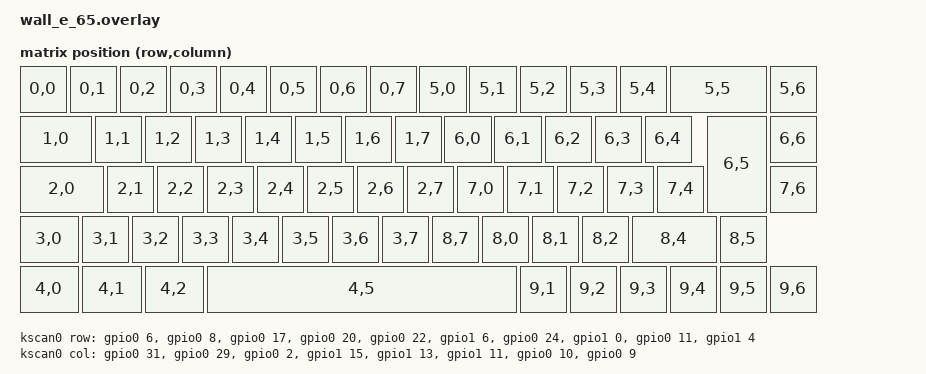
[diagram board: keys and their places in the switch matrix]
#include <dt-bindings/zmk/matrix_transform.h>
#include <physical_layouts.dtsi>

/ {
    chosen {
        zmk,kscan = &kscan0;
        zmk,physical-layout = &physical_layout0;
        zmk,backlight = &backlight;
    };

    /* Definizione del LED sul Pad posteriore P1.01 */
    backlight: gpio_leds {
        compatible = "gpio-leds";
        caps_lock_led: caps_lock_led {
            gpios = <&gpio1 1 GPIO_ACTIVE_HIGH>;
            label = "Caps Lock LED";
        };
    };

    /* Matrice Elettrica Hardware (Pin nativi nRF52840) */
    kscan0: kscan_0 {
        compatible = "zmk,kscan-gpio-matrix";
        label = "KSCAN";
        diode-direction = "col2row";
        wakeup-source;

        /* Le 10 Righe nell'ordine esatto del test Python */
        row-gpios
            = <&gpio0  6 (GPIO_ACTIVE_HIGH | GPIO_PULL_DOWN)> /* Row 0: P0.06 */
            , <&gpio0  8 (GPIO_ACTIVE_HIGH | GPIO_PULL_DOWN)> /* Row 1: P0.08 */
            , <&gpio0 17 (GPIO_ACTIVE_HIGH | GPIO_PULL_DOWN)> /* Row 2: P0.17 */
            , <&gpio0 20 (GPIO_ACTIVE_HIGH | GPIO_PULL_DOWN)> /* Row 3: P0.20 */
            , <&gpio0 22 (GPIO_ACTIVE_HIGH | GPIO_PULL_DOWN)> /* Row 4: P0.22 */
            , <&gpio1  6 (GPIO_ACTIVE_HIGH | GPIO_PULL_DOWN)> /* Row 5: P1.06 */
            , <&gpio0 24 (GPIO_ACTIVE_HIGH | GPIO_PULL_DOWN)> /* Row 6: P0.24 */
            , <&gpio1  0 (GPIO_ACTIVE_HIGH | GPIO_PULL_DOWN)> /* Row 7: P1.00 */
            , <&gpio0 11 (GPIO_ACTIVE_HIGH | GPIO_PULL_DOWN)> /* Row 8: P0.11 */
            , <&gpio1  4 (GPIO_ACTIVE_HIGH | GPIO_PULL_DOWN)> /* Row 9: P1.04 */
            ;

        /* Le 8 Colonne nell'ordine esatto del test Python */
        col-gpios
            = <&gpio0 31 GPIO_ACTIVE_HIGH> /* Col 0: P0.31 */
            , <&gpio0 29 GPIO_ACTIVE_HIGH> /* Col 1: P0.29 */
            , <&gpio0  2 GPIO_ACTIVE_HIGH> /* Col 2: P0.02 */
            , <&gpio1 15 GPIO_ACTIVE_HIGH> /* Col 3: P1.15 */
            , <&gpio1 13 GPIO_ACTIVE_HIGH> /* Col 4: P1.13 */
            , <&gpio1 11 GPIO_ACTIVE_HIGH> /* Col 5: P1.11 */
            , <&gpio0 10 GPIO_ACTIVE_HIGH> /* Col 6: P0.10 */
            , <&gpio0  9 GPIO_ACTIVE_HIGH> /* Col 7: P0.09 */
            ;
    };

    /* Mappa di associazione coordinate elettriche (68 tasti) */
    default_transform: keymap_transform_0 {
        compatible = "zmk,matrix-transform";
        columns = <8>;
        rows = <10>;
        map = <
            /* Fila 0 (15 tasti) */
            RC(0,0) RC(0,1) RC(0,2) RC(0,3) RC(0,4) RC(0,5) RC(0,6) RC(0,7) RC(5,0) RC(5,1) RC(5,2) RC(5,3) RC(5,4) RC(5,5) RC(5,6)
            /* Fila 1 (15 tasti) */
            RC(1,0) RC(1,1) RC(1,2) RC(1,3) RC(1,4) RC(1,5) RC(1,6) RC(1,7) RC(6,0) RC(6,1) RC(6,2) RC(6,3) RC(6,4) RC(6,5) RC(6,6)
            /* Fila 2 (14 tasti) */
            RC(2,0) RC(2,1) RC(2,2) RC(2,3) RC(2,4) RC(2,5) RC(2,6) RC(2,7) RC(7,0) RC(7,1) RC(7,2) RC(7,3) RC(7,4)         RC(7,6)
            /* Fila 3 (14 tasti) */
            RC(3,0) RC(3,1) RC(3,2) RC(3,3) RC(3,4) RC(3,5) RC(3,6) RC(3,7) RC(8,7) RC(8,0) RC(8,1) RC(8,2)         RC(8,4) RC(8,5)
            /* Fila 4 (10 tasti) */
            RC(4,0) RC(4,1) RC(4,2)                 RC(4,5)                   RC(9,1) RC(9,2) RC(9,3) RC(9,4) RC(9,5) RC(9,6)
        >;
    };

    /* Layout Fisico per ZMK Studio (68 tasti) */
    physical_layout0: physical_layout_0 {
        compatible = "zmk,physical-layout";
        display-name = "WALL-E 65";
        transform = <&default_transform>;
        kscan = <&kscan0>;
        keys
            = <&key_physical_attrs 100 100    0   0 0 0 0>
            , <&key_physical_attrs 100 100  100   0 0 0 0>
            , <&key_physical_attrs 100 100  200   0 0 0 0>
            , <&key_physical_attrs 100 100  300   0 0 0 0>
            , <&key_physical_attrs 100 100  400   0 0 0 0>
            , <&key_physical_attrs 100 100  500   0 0 0 0>
            , <&key_physical_attrs 100 100  600   0 0 0 0>
            , <&key_physical_attrs 100 100  700   0 0 0 0>
            , <&key_physical_attrs 100 100  800   0 0 0 0>
            , <&key_physical_attrs 100 100  900   0 0 0 0>
            , <&key_physical_attrs 100 100 1000   0 0 0 0>
            , <&key_physical_attrs 100 100 1100   0 0 0 0>
            , <&key_physical_attrs 100 100 1200   0 0 0 0>
            , <&key_physical_attrs 200 100 1300   0 0 0 0>
            , <&key_physical_attrs 100 100 1500   0 0 0 0>

            , <&key_physical_attrs 150 100    0 100 0 0 0>
            , <&key_physical_attrs 100 100  150 100 0 0 0>
            , <&key_physical_attrs 100 100  250 100 0 0 0>
            , <&key_physical_attrs 100 100  350 100 0 0 0>
            , <&key_physical_attrs 100 100  450 100 0 0 0>
            , <&key_physical_attrs 100 100  550 100 0 0 0>
            , <&key_physical_attrs 100 100  650 100 0 0 0>
            , <&key_physical_attrs 100 100  750 100 0 0 0>
            , <&key_physical_attrs 100 100  850 100 0 0 0>
            , <&key_physical_attrs 100 100  950 100 0 0 0>
            , <&key_physical_attrs 100 100 1050 100 0 0 0>
            , <&key_physical_attrs 100 100 1150 100 0 0 0>
            , <&key_physical_attrs 100 100 1250 100 0 0 0>
            , <&key_physical_attrs 125 200 1375 100 0 0 0>
            , <&key_physical_attrs 100 100 1500 100 0 0 0>

            , <&key_physical_attrs 175 100    0 200 0 0 0>
            , <&key_physical_attrs 100 100  175 200 0 0 0>
            , <&key_physical_attrs 100 100  275 200 0 0 0>
            , <&key_physical_attrs 100 100  375 200 0 0 0>
            , <&key_physical_attrs 100 100  475 200 0 0 0>
            , <&key_physical_attrs 100 100  575 200 0 0 0>
            , <&key_physical_attrs 100 100  675 200 0 0 0>
            , <&key_physical_attrs 100 100  775 200 0 0 0>
            , <&key_physical_attrs 100 100  875 200 0 0 0>
            , <&key_physical_attrs 100 100  975 200 0 0 0>
            , <&key_physical_attrs 100 100 1075 200 0 0 0>
            , <&key_physical_attrs 100 100 1175 200 0 0 0>
            , <&key_physical_attrs 100 100 1275 200 0 0 0>
            , <&key_physical_attrs 100 100 1500 200 0 0 0>

            , <&key_physical_attrs 125 100    0 300 0 0 0>
            , <&key_physical_attrs 100 100  125 300 0 0 0>
            , <&key_physical_attrs 100 100  225 300 0 0 0>
            , <&key_physical_attrs 100 100  325 300 0 0 0>
            , <&key_physical_attrs 100 100  425 300 0 0 0>
            , <&key_physical_attrs 100 100  525 300 0 0 0>
            , <&key_physical_attrs 100 100  625 300 0 0 0>
            , <&key_physical_attrs 100 100  725 300 0 0 0>
            , <&key_physical_attrs 100 100  825 300 0 0 0>
            , <&key_physical_attrs 100 100  925 300 0 0 0>
            , <&key_physical_attrs 100 100 1025 300 0 0 0>
            , <&key_physical_attrs 100 100 1125 300 0 0 0>
            , <&key_physical_attrs 175 100 1225 300 0 0 0>
            , <&key_physical_attrs 100 100 1400 300 0 0 0>

            , <&key_physical_attrs 125 100    0 400 0 0 0>
            , <&key_physical_attrs 125 100  125 400 0 0 0>
            , <&key_physical_attrs 125 100  250 400 0 0 0>
            , <&key_physical_attrs 625 100  375 400 0 0 0>
            , <&key_physical_attrs 100 100 1000 400 0 0 0>
            , <&key_physical_attrs 100 100 1100 400 0 0 0>
            , <&key_physical_attrs 100 100 1200 400 0 0 0>
            , <&key_physical_attrs 100 100 1300 400 0 0 0>
            , <&key_physical_attrs 100 100 1400 400 0 0 0>
            , <&key_physical_attrs 100 100 1500 400 0 0 0>
            ;
    };
};
